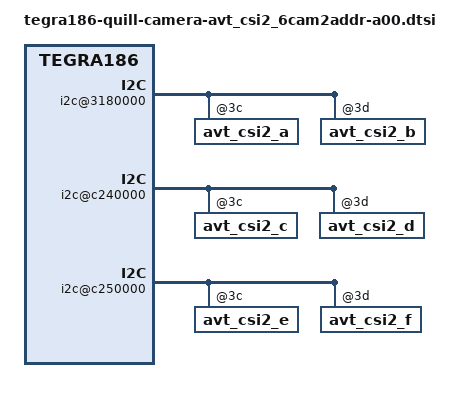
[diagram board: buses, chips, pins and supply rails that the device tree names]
/*
 * Copyright (c) 2015-2016, NVIDIA CORPORATION.  All rights reserved.
 *
 * This program is free software; you can redistribute it and/or modify
 * it under the terms of the GNU General Public License as published by
 * the Free Software Foundation; either version 2 of the License, or
 * (at your option) any later version.
 *
 * This program is distributed in the hope that it will be useful, but WITHOUT
 * ANY WARRANTY; without even the implied warranty of MERCHANTABILITY or
 * FITNESS FOR A PARTICULAR PURPOSE.  See the GNU General Public License for
 * more details.
 *
 * You should have received a copy of the GNU General Public License
 * along with this program.  If not, see <http://www.gnu.org/licenses/>.
 */
#include <t18x-common-modules/tegra186-camera-avt_csi2_6cam2addr-a00.dtsi>
#include "dt-bindings/clock/tegra186-clock.h"

#define CAM0_RST_L     TEGRA_MAIN_GPIO(R, 5)
#define CAMERA_I2C_MUX_BUS(x) (0x1E + x)

/* camera control gpio definitions */
/ {
	i2c@3180000 {
		avt_csi2_a@3c {
			clocks = <&tegra_car TEGRA186_CLK_EXTPERIPH1>,
			       <&tegra_car TEGRA186_CLK_PLLP_OUT0>;
			clock-names = "extperiph1", "pllp_grtba";
			mclk = "extperiph1";
		};
		avt_csi2_b@3d {
			clocks = <&tegra_car TEGRA186_CLK_EXTPERIPH1>,
			       <&tegra_car TEGRA186_CLK_PLLP_OUT0>;
			clock-names = "extperiph1", "pllp_grtba";
			mclk = "extperiph1";
		};
	};
};

/* camera control gpio definitions */
/ {
	i2c@c240000 {
		avt_csi2_c@3c {
			clocks = <&tegra_car TEGRA186_CLK_EXTPERIPH1>,
					 <&tegra_car TEGRA186_CLK_PLLP_OUT0>;
			clock-names = "extperiph1", "pllp_grtba";
			mclk = "extperiph1";
		};
		avt_csi2_d@3d {
			clocks = <&tegra_car TEGRA186_CLK_EXTPERIPH2>,
					 <&tegra_car TEGRA186_CLK_PLLP_OUT0>;
			clock-names = "extperiph2", "pllp_grtba";
			mclk = "extperiph2";
		};
	};
};

/* camera control gpio definitions */
/ {
	i2c@c250000 {
		avt_csi2_e@3c {
			clocks = <&tegra_car TEGRA186_CLK_EXTPERIPH2>,
			       <&tegra_car TEGRA186_CLK_PLLP_OUT0>;
			clock-names = "extperiph2", "pllp_grtba";
			mclk = "extperiph2";
		};
		avt_csi2_f@3d {
			clocks = <&tegra_car TEGRA186_CLK_EXTPERIPH2>,
			       <&tegra_car TEGRA186_CLK_PLLP_OUT0>;
			clock-names = "extperiph2", "pllp_grtba";
			mclk = "extperiph2";
		};
	};
};

